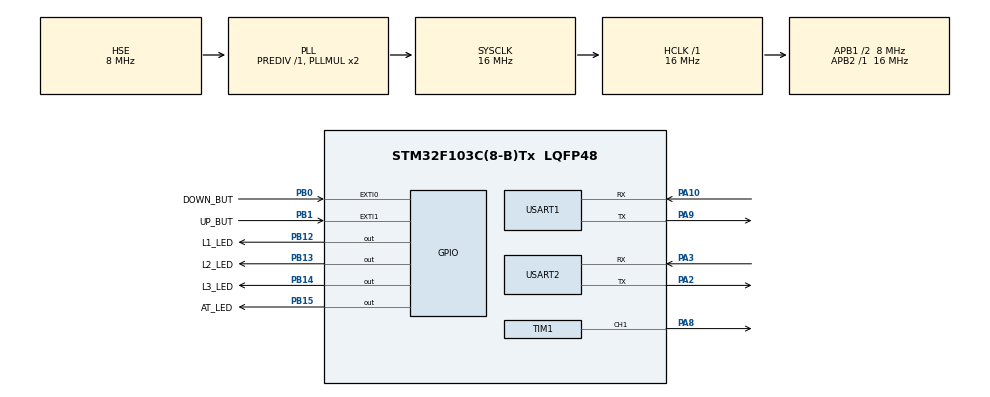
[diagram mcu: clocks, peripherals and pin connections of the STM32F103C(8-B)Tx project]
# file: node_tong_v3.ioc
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Mcu.Family=STM32F1
Mcu.Name=STM32F103C(8-B)Tx
Mcu.Package=LQFP48
NVIC.EXTI0_IRQn=true\:3\:0\:true\:false\:true\:true\:true\:true
NVIC.EXTI1_IRQn=true\:3\:0\:true\:false\:true\:true\:true\:true
NVIC.PriorityGroup=NVIC_PRIORITYGROUP_4
NVIC.TIM2_IRQn=true\:4\:0\:true\:false\:true\:true\:true\:true
NVIC.TIM3_IRQn=true\:5\:0\:true\:false\:true\:true\:true\:true
NVIC.USART1_IRQn=true\:0\:0\:false\:false\:true\:true\:true\:true
NVIC.USART2_IRQn=true\:1\:0\:true\:false\:true\:true\:true\:true
PA10.Mode=Asynchronous
PA10.Signal=USART1_RX
PA13.Mode=Serial_Wire
PA13.Signal=SYS_JTMS-SWDIO
PA14.Mode=Serial_Wire
PA14.Signal=SYS_JTCK-SWCLK
PA2.Mode=Asynchronous
PA2.Signal=USART2_TX
PA3.Mode=Asynchronous
PA3.Signal=USART2_RX
PA8.Signal=S_TIM1_CH1
PA9.Mode=Asynchronous
PA9.Signal=USART1_TX
PB0.GPIO_Label=DOWN_BUT
PB0.GPIO_ModeDefaultEXTI=GPIO_MODE_IT_FALLING
PB0.Signal=GPXTI0
PB1.GPIO_Label=UP_BUT
PB1.GPIO_ModeDefaultEXTI=GPIO_MODE_IT_FALLING
PB1.Signal=GPXTI1
PB12.GPIO_Label=L1_LED
PB12.GPIO_PuPd=GPIO_PULLUP
PB12.PinState=GPIO_PIN_SET
PB12.Signal=GPIO_Output
PB13.GPIO_Label=L2_LED
PB13.GPIO_PuPd=GPIO_PULLUP
PB13.PinState=GPIO_PIN_SET
PB13.Signal=GPIO_Output
PB14.GPIO_Label=L3_LED
PB14.GPIO_PuPd=GPIO_PULLUP
PB14.PinState=GPIO_PIN_SET
PB14.Signal=GPIO_Output
PB15.GPIO_Label=AT_LED
PB15.GPIO_PuPd=GPIO_PULLUP
PB15.GPIO_Speed=GPIO_SPEED_FREQ_LOW
PB15.PinState=GPIO_PIN_SET
PB15.Signal=GPIO_Output
PD0-OSC_IN.Mode=HSE-External-Oscillator
PD0-OSC_IN.Signal=RCC_OSC_IN
PD1-OSC_OUT.Mode=HSE-External-Oscillator
PD1-OSC_OUT.Signal=RCC_OSC_OUT
ProjectManager.HeapSize=0x200
ProjectManager.StackSize=0x400
ProjectManager.TargetToolchain=STM32CubeIDE
RCC.AHBFreq_Value=16000000
RCC.APB1CLKDivider=RCC_HCLK_DIV2
RCC.APB1Freq_Value=8000000
RCC.APB1TimFreq_Value=16000000
RCC.APB2Freq_Value=16000000
RCC.APB2TimFreq_Value=16000000
RCC.HCLKFreq_Value=16000000
RCC.PLLSourceVirtual=RCC_PLLSOURCE_HSE
RCC.SYSCLKFreq_VALUE=16000000
RCC.SYSCLKSource=RCC_SYSCLKSOURCE_PLLCLK
RCC.USBFreq_Value=16000000
SH.S_TIM1_CH1.0=TIM1_CH1,PWM Generation1 CH1
TIM1.Channel-PWM\ Generation1\ CH1=TIM_CHANNEL_1
TIM1.OCMode_PWM-PWM\ Generation1\ CH1=TIM_OCMODE_PWM1
TIM1.Period=100
TIM1.Prescaler=16000-1
TIM2.Period=3000
TIM2.Prescaler=16000-1
TIM3.Period=6000
TIM3.Prescaler=16000-1
USART1.VirtualMode=VM_ASYNC
USART2.VirtualMode=VM_ASYNC
VP_TIM2_VS_ClockSourceINT.Mode=Internal
VP_TIM3_VS_ClockSourceINT.Mode=Internal
board=custom

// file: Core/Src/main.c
/* USER CODE BEGIN Header */
/**
  ******************************************************************************
  * @file           : main.c
  * @brief          : Main program body
  ******************************************************************************
  * @attention
  *
  * Copyright (c) 2024 STMicroelectronics.
  * All rights reserved.
  *
  * This software is licensed under terms that can be found in the LICENSE file
  * in the root directory of this software component.
  * If no LICENSE file comes with this software, it is provided AS-IS.
  *
  ******************************************************************************
  */
/* USER CODE END Header */
#include "main.h"

/* USER CODE BEGIN Includes */
#include "stdio.h"
#include "string.h"
#include <stdlib.h>
#include <time_related_node_tong.h>
#include"led.h"
#include <rs_related_node_tong.h>
/* USER CODE END Includes */

TIM_HandleTypeDef htim1;
TIM_HandleTypeDef htim2;
TIM_HandleTypeDef htim3;

UART_HandleTypeDef huart1;
UART_HandleTypeDef huart2;

/* USER CODE BEGIN PV */
uint8_t at_state=1;
uint16_t duty = 50;
// dữ liệu với node đo
uint8_t RS1_txBuffer[20];
uint8_t RS1_rxBuffer[30];
// dữ liệu với gateway
uint8_t RS2_txBuffer[40];
uint8_t RS2_rxBuffer[20];
uint8_t RS2_rx[20];
uint8_t rs1_temp[2];
uint8_t rs1_inx=0;
uint8_t rs2_temp[2];
uint8_t rs2_inx=0;
uint8_t node_flag=1 ;
uint8_t myID = 0x11;  // �?ịa chỉ Slave (duy nhất)

PPM ppm_data_1;
PPM ppm_data_2;
uint8_t lrc;
uint8_t received_lrc;
uint8_t receive_node1_flag=1; // c�? nhận được dữ liệu từ node 1 không
uint8_t receive_node2_flag=1; // c�? nhận được dữ liệu từ node 2 không
uint8_t connect_gw_error_flag=0; // c�? lỗi kết nối với gw
uint8_t connect_gw_miss_flag=0;
uint8_t save_ok = 0;			// lưu dữ liệu vào vùng nhớ tran xong hay không
uint8_t miss_data_node1_to_nodet_inx=0; 		// biến đếm dữ liệu thiếu node 1 đến node tổng
uint8_t miss_data_node2_to_nodet_inx=0;	// biến đếm dữ liệu thiếu node 2 dến node tổng
uint8_t miss_data_nodet_to_gw_inx=0;      // biến đếm dữ liệu thiếu gw
uint8_t miss_data_node1_to_gw_inx=0;
uint8_t miss_data_node2_to_gw_inx=0;

uint8_t send_gw_inx=0;

uint8_t send_n1_inx=0;

uint8_t send_n2_inx=0;
char string_data_tran[100][40];
char string_data_rec1[100][20];
char string_data_rec2[100][20];
/* USER CODE END PV */

void SystemClock_Config(void);
static void MX_GPIO_Init(void);
static void MX_USART1_UART_Init(void);
static void MX_TIM2_Init(void);
static void MX_TIM1_Init(void);
static void MX_USART2_UART_Init(void);
static void MX_TIM3_Init(void);

/* USER CODE BEGIN 0 */

// gửi lệnh đ�?c v�? node đo theo th�?i gian
void HAL_TIM_PeriodElapsedCallback(TIM_HandleTypeDef *htim)
{
    if (htim->Instance == TIM2)  // Kiểm tra nếu ngắt từ Timer 2
    {
    	if(node_flag==1 && receive_node1_flag==1)
    	{
    	RS485_SendCommand(0x01, 0x02);  // Gửi lệnh "02" tới Slave 1 ( lệnh gửi 1 dữ liệu)
    	node_flag=2;
    	receive_node1_flag=0;
    	}
    	else if(node_flag==1 && receive_node1_flag==0)
    	{
    	RS485_SendCommand(0x01, 0x03);  // Gửi lệnh "03" tới Slave 1 ( lệnh gửi tất cả dữ liệu chưa gửi được)
    	node_flag=2;
    	receive_node1_flag=0;
    	}

    	else if(node_flag==2 && receive_node2_flag==1)
    	{
		RS485_SendCommand(0x02, 0x02);  // Gửi lệnh "02" tới Slave 2
		node_flag=1;
		receive_node2_flag=0;
    	}
    	else if(node_flag==2 && receive_node2_flag==0)
    	{
    		RS485_SendCommand(0x02, 0x03);  // Gửi lệnh "03" tới Slave 2
    		node_flag=1;
    		receive_node2_flag=0;
    	}
    }
    else if (htim->Instance == TIM3)  // Kiểm tra nếu ngắt từ Timer 3
    {
    	Change_Time_Save_Data();
    	connect_gw_error_flag++;
    	save_ok=0;
		 if(connect_gw_error_flag>=2 && save_ok==0)
		 {
			miss_data_nodet_to_gw_inx=connect_gw_error_flag-2;
			encode_ppm_data(ppm_data_1,(uint8_t*)string_data_tran[miss_data_nodet_to_gw_inx] , 5);
			encode_ppm_data(ppm_data_2,(uint8_t*)string_data_tran[miss_data_nodet_to_gw_inx] , 19);
			save_ok=1;
		 }
    }
}

void HAL_UART_RxCpltCallback(UART_HandleTypeDef *huart)
{
	// Nhận dữ liệu từ node đo
    if (huart->Instance == USART1)
    {
			// nhận chuỗi từ : đến \n
	if(rs1_temp[0] != '\n')
	{
		if(rs1_temp[0]==':')
		{
			RS1_rxBuffer[0]=rs1_temp[0];
			rs1_inx=1;
		}
		else
		{
			RS1_rxBuffer[rs1_inx++]=rs1_temp[0];
		}
	}
	else
	{
		RS1_rxBuffer[rs1_inx++]='\n';
    	if(check_lrc(&RS1_rxBuffer[1],18,(char*)&RS1_rxBuffer[19]) == 1)
    	{
			if (RS1_rxBuffer[1] == '0' && RS1_rxBuffer[2] == '1')
					{ // Kiểm tra địa chỉ
				if (RS1_rxBuffer[3] == '0' && RS1_rxBuffer[4] == '2')
				{
					HAL_TIM_Base_Start_IT(&htim2);
					decode_ppm_ver3((char*)RS1_rxBuffer,&ppm_data_1);
					receive_node1_flag=1; // c�? nhận được dữ liệu từ node1
					miss_data_node1_to_nodet_inx=0;
					Change_Time_Read_Data();
					RS485_SendCommand(0x01, 0xAA); //AA = OK
				}
				 else if(RS1_rxBuffer[3] == '0' && RS1_rxBuffer[4] == '3') // nhận được nhi�?u dữ liệu
				{
					HAL_TIM_Base_Stop_IT(&htim2);
					strcpy(&string_data_rec1[miss_data_node1_to_nodet_inx][5],(char*)&RS1_rxBuffer[5]);
					miss_data_node1_to_nodet_inx++;
					miss_data_node1_to_gw_inx = miss_data_node1_to_nodet_inx;
					RS485_SendCommand(0x01, 0xBB); // gui ve node do la da luu thanh cong
				}
			   }
			// node 2
			else if (RS1_rxBuffer[1] == '0' && RS1_rxBuffer[2] == '2')
					{ // Kiểm tra địa chỉ
				if (RS1_rxBuffer[3] == '0' && RS1_rxBuffer[4] == '2')
				{
					HAL_TIM_Base_Start_IT(&htim2);
					decode_ppm_ver3((char*)RS1_rxBuffer,&ppm_data_2);
					receive_node2_flag=1;
					miss_data_node2_to_nodet_inx=0;
					Change_Time_Read_Data();
					RS485_SendCommand(0x02, 0xAA);
				}
				else if(RS1_rxBuffer[3] == '0' && RS1_rxBuffer[4] == '3')
				{
					HAL_TIM_Base_Stop_IT(&htim2);
					strcpy(&string_data_rec2[miss_data_node2_to_nodet_inx][5],(char*)&RS1_rxBuffer[5]);
					miss_data_node2_to_nodet_inx++;
					miss_data_node2_to_gw_inx = miss_data_node2_to_nodet_inx;
					RS485_SendCommand(0x02, 0xBB);
				}
			   }
		 }
 		rs1_inx=0;
 		memset(RS1_rxBuffer,0,sizeof(RS1_rxBuffer));
    }
        HAL_UART_Receive_IT(&huart1, rs1_temp, 1);
    }

       //Nhận lệnh từ gateway
        if (huart->Instance == USART2)
        {
		// nhận bản tin từ từ : đến \n
		if(rs2_temp[0] != '\n') // nhận các kí tự đến \n
		{
			if(rs2_temp[0]==':') // kí tự bắt đầu phải là :
			{
				RS2_rxBuffer[0]=rs2_temp[0];
				rs2_inx=1;
			}
			else
			{
				RS2_rxBuffer[rs2_inx++]=rs2_temp[0];  // nhận các kí tự tiếp theo
			}
		}
		else // nhận xong 1 bản tin rồi xử lý dữ liệu
		{
			RS2_rxBuffer[rs2_inx++]='\n'; // chèn kí tự \n vào cuối bản tin
        	if(check_lrc(&RS2_rxBuffer[1],4,(char*)&RS2_rxBuffer[5]) == 1)
        	 {
				if (RS2_rxBuffer[1] == '1' && RS2_rxBuffer[2] == '1')
				{ // Kiểm tra địa chỉ
					connect_gw_error_flag=0;
					if (RS2_rxBuffer[3] == '0' && RS2_rxBuffer[4] == '2')
					{
						RS2_txBuffer[0]=':';
						// Gửi phản hồi
						hexdec_to_ascii(myID,(char*)&RS2_txBuffer[1]);
						RS2_txBuffer[3] = '0';
						RS2_txBuffer[4] = '2';

						// G�?i hàm để mã hóa dữ liệu ppm_data_1 vào RS2_txBuffer bắt đầu từ vị trí 5
						encode_ppm_data(ppm_data_1, RS2_txBuffer, 5);

						// G�?i hàm để mã hóa dữ liệu ppm_data_2 vào RS2_txBuffer bắt đầu từ vị trí 19
						encode_ppm_data(ppm_data_2, RS2_txBuffer, 19);

						lrc = calculate_lrc(&RS2_txBuffer[1],32);
						hexdec_to_ascii(lrc,(char*)&RS2_txBuffer[33]);
						RS2_txBuffer[35]=0x0D ;
						RS2_txBuffer[36]=0x0A ;
						HAL_UART_Transmit(&huart2, RS2_txBuffer, 40, HAL_MAX_DELAY);
					}
					else if(RS2_rxBuffer[3] == 'A' && RS2_rxBuffer[4] == 'A') // nhận lại oke
					{
						HAL_TIM_Base_Start_IT(&htim3);
						connect_gw_error_flag=0;
						miss_data_nodet_to_gw_inx=0;
						miss_data_node1_to_gw_inx=0;
						miss_data_node2_to_gw_inx=0;
						send_n1_inx=0;
						send_n2_inx=0;
						memset(string_data_rec1, 0, sizeof(string_data_rec1));
						memset(string_data_rec2, 0, sizeof(string_data_rec2));
						memset(string_data_tran, 0, sizeof(string_data_tran));
					}
					else if(RS2_rxBuffer[3] == '0' && RS2_rxBuffer[4] == '3') // th mat ket noi len gw
					{
						 if( miss_data_nodet_to_gw_inx!=0)
						 {
							 while(send_gw_inx<miss_data_nodet_to_gw_inx)
							 {
								RS2_txBuffer[0]=':';
								hexdec_to_ascii(myID,(char*)&RS2_txBuffer[1]);
								RS2_txBuffer[3] = '0';
								RS2_txBuffer[4] = '3';
								strcpy((char*)&RS2_txBuffer[5], &string_data_tran[send_gw_inx][5]);
								lrc = calculate_lrc(&RS2_txBuffer[1],32);
								hexdec_to_ascii(lrc,(char*)&RS2_txBuffer[33]);
								RS2_txBuffer[35]=0x0D ;
								RS2_txBuffer[36]=0x0A ;
								 HAL_UART_Transmit(&huart2, RS2_txBuffer, 40, HAL_MAX_DELAY);
								 HAL_UART_Receive(&huart2 ,RS2_rx, 10, HAL_MAX_DELAY);
								 if( RS2_rx[4] == 'B')
								 {
									 HAL_TIM_Base_Stop_IT(&htim3);
									 send_gw_inx++;
								 }
							 }
							 if(send_gw_inx==miss_data_nodet_to_gw_inx)
							 {
								RS2_txBuffer[0]=':';
								hexdec_to_ascii(myID,(char*)&RS2_txBuffer[1]);
								RS2_txBuffer[3] = '0';
								RS2_txBuffer[4] = '2';
								strcpy((char*)&RS2_txBuffer[5], &string_data_tran[send_gw_inx][5]);
								lrc = calculate_lrc(&RS2_txBuffer[1],32);
								hexdec_to_ascii(lrc,(char*)&RS2_txBuffer[33]);
								RS2_txBuffer[35]=0x0D ;
								RS2_txBuffer[36]=0x0A ;
								HAL_UART_Transmit(&huart2, RS2_txBuffer, 40, HAL_MAX_DELAY);
							 }
						 }
						 else // them vao neu k chay thi xoa
						 {
							RS2_txBuffer[0]=':';
							// Gửi phản hồi
							hexdec_to_ascii(myID,(char*)&RS2_txBuffer[1]);
							RS2_txBuffer[3] = '0';
							RS2_txBuffer[4] = '0';
							lrc = calculate_lrc(&RS2_txBuffer[1],32);
							hexdec_to_ascii(lrc,(char*)&RS2_txBuffer[33]);
							RS2_txBuffer[35]=0x0D ;
							RS2_txBuffer[36]=0x0A ;
							HAL_UART_Transmit(&huart2, RS2_txBuffer, 40, HAL_MAX_DELAY);
						 }
					}
				   else if(RS2_rxBuffer[3] == '2' && RS2_rxBuffer[4] == '1') // nhận lệnh gửi dữ liệu bị miss từ node1 lên node tổng
				   {
					   if(miss_data_node1_to_gw_inx==0) // chưa có dữ liệu từ node 1 lên node tổng
					   {
							RS2_txBuffer[0]=':';
							// Gửi phản hồi
							hexdec_to_ascii(myID,(char*)&RS2_txBuffer[1]);
							RS2_txBuffer[3] = '0';
							RS2_txBuffer[4] = '2';

							// G�?i hàm để mã hóa dữ liệu ppm_data_1 vào RS2_txBuffer bắt đầu từ vị trí 5
							encode_ppm_data(ppm_data_1, RS2_txBuffer, 5);

							// G�?i hàm để mã hóa dữ liệu ppm_data_2 vào RS2_txBuffer bắt đầu từ vị trí 19
							encode_ppm_data(ppm_data_2, RS2_txBuffer, 19);

							lrc = calculate_lrc(&RS2_txBuffer[1],32);
							hexdec_to_ascii(lrc,(char*)&RS2_txBuffer[33]);
							RS2_txBuffer[35]=0x0D ;
							RS2_txBuffer[36]=0x0A ;
							HAL_UART_Transmit(&huart2, RS2_txBuffer, 40, HAL_MAX_DELAY);
					   }
					   else // đã có dữ liệu từ node đo lên node tổng
					   {
							while(send_n1_inx<miss_data_node1_to_gw_inx -1)
							{
								RS2_txBuffer[0]=':';
								// Gửi phản hồi
								hexdec_to_ascii(myID,(char*)&RS2_txBuffer[1]);
								RS2_txBuffer[3] = '2';
								RS2_txBuffer[4] = '1';
								strncpy((char *)&RS2_txBuffer[5], &string_data_rec1[send_n1_inx][5], 14);
								memset(&RS2_txBuffer[19], 0, 14);
								lrc = calculate_lrc(&RS2_txBuffer[1],32);
								hexdec_to_ascii(lrc,(char*)&RS2_txBuffer[33]);
								RS2_txBuffer[35]=0x0D ;
								RS2_txBuffer[36]=0x0A ;
								 HAL_UART_Transmit(&huart2, RS2_txBuffer, 40, HAL_MAX_DELAY);
								 HAL_UART_Receive(&huart2 ,RS2_rx, 10, HAL_MAX_DELAY);
								 if(RS2_rx[4] == 'C')
								 {
									 send_n1_inx++;
								 }
							}
							 if(send_n1_inx == miss_data_node1_to_gw_inx -1) // gửi dữ liệu cuối cùng của vugnf nhớ (có lệnh 0x02) để gw quay v�? thực hiện tiếp như chưa có lỗi
							 {
								RS2_txBuffer[0]=':';
								// Gửi phản hồi
								hexdec_to_ascii(myID,(char*)&RS2_txBuffer[1]);
								RS2_txBuffer[3] = '0';
								RS2_txBuffer[4] = '2';
								strncpy((char *)&RS2_txBuffer[5], &string_data_rec1[send_n1_inx][5], 14);
								memset(&RS2_txBuffer[19], 0, 14);
								lrc = calculate_lrc(&RS2_txBuffer[1],32);
								hexdec_to_ascii(lrc,(char*)&RS2_txBuffer[33]);
								RS2_txBuffer[35]=0x0D ;
								RS2_txBuffer[36]=0x0A ;
								 HAL_UART_Transmit(&huart2, RS2_txBuffer, 40, HAL_MAX_DELAY);
								 send_n1_inx++;
							 }
						 }
				   }
				   else if(RS2_rxBuffer[3] == '2' && RS2_rxBuffer[4] == '2')
				   {
					   if(miss_data_node2_to_gw_inx==0) // chưa có dữ liệu từ node 2 lên node tổng
					   {
							RS2_txBuffer[0]=':';
							// Gửi phản hồi
							hexdec_to_ascii(myID,(char*)&RS2_txBuffer[1]);
							RS2_txBuffer[3] = '0';
							RS2_txBuffer[4] = '2';

							// G�?i hàm để mã hóa dữ liệu ppm_data_1 vào RS2_txBuffer bắt đầu từ vị trí 5
							encode_ppm_data(ppm_data_1, RS2_txBuffer, 5);

							// G�?i hàm để mã hóa dữ liệu ppm_data_2 vào RS2_txBuffer bắt đầu từ vị trí 19
							encode_ppm_data(ppm_data_2, RS2_txBuffer, 19);

							lrc = calculate_lrc(&RS2_txBuffer[1],32);
							hexdec_to_ascii(lrc,(char*)&RS2_txBuffer[33]);
							RS2_txBuffer[35]=0x0D ;
							RS2_txBuffer[36]=0x0A ;
							HAL_UART_Transmit(&huart2, RS2_txBuffer, 40, HAL_MAX_DELAY);
					   }
					   else // đã có dữ liệu từ node đo lên node tổng
					   {
							 while(send_n2_inx<miss_data_node2_to_gw_inx -1)
							{
								RS2_txBuffer[0]=':';
								// Gửi phản hồi
								hexdec_to_ascii(myID,(char*)&RS2_txBuffer[1]);
								RS2_txBuffer[3] = '2';
								RS2_txBuffer[4] = '2';
								memset(&RS2_txBuffer[5], 0, 14);
								strncpy((char *)&RS2_txBuffer[19], &string_data_rec2[send_n2_inx][5], 14);
								lrc = calculate_lrc(&RS2_txBuffer[1],32);
								hexdec_to_ascii(lrc,(char*)&RS2_txBuffer[33]);
								RS2_txBuffer[35]=0x0D ;
								RS2_txBuffer[36]=0x0A ;
								 HAL_UART_Transmit(&huart2, RS2_txBuffer, 40, HAL_MAX_DELAY);
								 HAL_UART_Receive(&huart2 ,RS2_rx, 10, HAL_MAX_DELAY);
								 if( RS2_rx[4] == 'D')
								 {
									 send_n2_inx++;
								 }
							}
							 if(send_n2_inx == miss_data_node2_to_gw_inx -1)// gửi dữ liệu cuối cùng của vugnf nhớ (có lệnh 0x02) để gw quay v�? thực hiện tiếp như chưa có lỗi
							 {
								RS2_txBuffer[0]=':';
								// Gửi phản hồi
								hexdec_to_ascii(myID,(char*)&RS2_txBuffer[1]);
								RS2_txBuffer[3] = '0';
								RS2_txBuffer[4] = '2';
								memset(&RS2_txBuffer[5], 0, 14);
								strncpy((char *)&RS2_txBuffer[19], &string_data_rec2[send_n2_inx][5], 14);
								lrc = calculate_lrc(&RS2_txBuffer[1],32);
								hexdec_to_ascii(lrc,(char*)&RS2_txBuffer[33]);
								RS2_txBuffer[35]=0x0D ;
								RS2_txBuffer[36]=0x0A ;
								 HAL_UART_Transmit(&huart2, RS2_txBuffer, 40, HAL_MAX_DELAY);
							 }
					   }
				   }
				   else if(RS2_rxBuffer[3] == '2' && RS2_rxBuffer[4] == '3')
				   {
					   if(miss_data_node2_to_gw_inx==0) // chưa có dữ liệu từ 2 node lên node tổng
					   {
							RS2_txBuffer[0]=':';
							// Gửi phản hồi
							hexdec_to_ascii(myID,(char*)&RS2_txBuffer[1]);
							RS2_txBuffer[3] = '0';
							RS2_txBuffer[4] = '0';
							lrc = calculate_lrc(&RS2_txBuffer[1],32);
							hexdec_to_ascii(lrc,(char*)&RS2_txBuffer[33]);
							RS2_txBuffer[35]=0x0D ;
							RS2_txBuffer[36]=0x0A ;
							 HAL_UART_Transmit(&huart2, RS2_txBuffer, 40, HAL_MAX_DELAY);
					   }
					   else // đã có dữ liệu từ node đo lên node tổng
					   {
							 while(send_n2_inx<miss_data_node2_to_gw_inx -1)
							{
								RS2_txBuffer[0]=':';
								// Gửi phản hồi
								hexdec_to_ascii(myID,(char*)&RS2_txBuffer[1]);
								RS2_txBuffer[3] = '2';
								RS2_txBuffer[4] = '3';
								strncpy((char *)&RS2_txBuffer[5], &string_data_rec1[send_n2_inx][5], 14);
								strncpy((char *)&RS2_txBuffer[19], &string_data_rec2[send_n2_inx][5], 14);
								lrc = calculate_lrc(&RS2_txBuffer[1],32);
								hexdec_to_ascii(lrc,(char*)&RS2_txBuffer[33]);
								RS2_txBuffer[35]=0x0D ;
								RS2_txBuffer[36]=0x0A ;
								 HAL_UART_Transmit(&huart2, RS2_txBuffer, 40, HAL_MAX_DELAY);
								 HAL_UART_Receive(&huart2 ,RS2_rx, 10, HAL_MAX_DELAY);
								 if( RS2_rx[4] == 'D')
								 {
									 send_n2_inx++;
								 }
							}
							 if(send_n2_inx == miss_data_node2_to_gw_inx -1)// gửi dữ liệu cuối cùng của vugnf nhớ (có lệnh 0x02) để gw quay v�? thực hiện tiếp như chưa có lỗi
							 {
								RS2_txBuffer[0]=':';
								// Gửi phản hồi
								hexdec_to_ascii(myID,(char*)&RS2_txBuffer[1]);
								RS2_txBuffer[3] = '0';
								RS2_txBuffer[4] = '2';
								strncpy((char *)&RS2_txBuffer[5], &string_data_rec1[send_n2_inx][5], 14);
								strncpy((char *)&RS2_txBuffer[19], &string_data_rec2[send_n2_inx][5], 14);
								lrc = calculate_lrc(&RS2_txBuffer[1],32);
								hexdec_to_ascii(lrc,(char*)&RS2_txBuffer[33]);
								RS2_txBuffer[35]=0x0D ;
								RS2_txBuffer[36]=0x0A ;
								 HAL_UART_Transmit(&huart2, RS2_txBuffer, 40, HAL_MAX_DELAY);
							 }
					   }
				   }
				}
        	 }
        	// nhận bản tin th�?i gian từ gw và gửi v�? các node đo
            if(RS2_rxBuffer[2] == 0x77)
			{
				 HAL_UART_Transmit(&huart1, RS2_rxBuffer, 11, HAL_MAX_DELAY); // truyen ve node do thoi gian
			}
            // reset rs2 và RS2_rxbuf để tiếp tục nhận bản tin khác
      		rs2_inx=0;
      		memset(RS2_rxBuffer,0,sizeof(RS2_rxBuffer));
       }
               HAL_UART_Receive_IT(&huart2, rs2_temp, 1);
               // nhận mỗi lần 1 kí tự
        }
}
// chương trình đk quạt = tay
void HAL_GPIO_EXTI_Callback(uint16_t GPIO_Pin)
{
  UNUSED(GPIO_Pin);
  if(GPIO_Pin == DOWN_BUT_Pin)
  {
	  at_state=0; // c�? trạng thái đi�?u khiển quạt tự động =0
	  AT_LED_On(); // bật đèn báo hiệu đk quạt = tay
	  if(duty<=50)
	  {
		duty = 0;
	  }
	  else
	  {
		duty = duty -25;
	  }
	  TIM1->CCR1 = duty;

  }
  if(GPIO_Pin == UP_BUT_Pin)
  {
	  at_state=0;
	  AT_LED_On();
	  if(duty==100)
	  {
		duty =100;
	  }
	  else
	  {
		  if(duty==0)
		  {
			  duty=50;
		  }
		  else
		  {
		    duty = duty +25;
		  }
	  }
	  TIM1->CCR1 = duty;
  }
  if(at_state==0)
  {
	  // hiển thị led
	  if(duty<50)
	  {
		  L1_3_LED_Off();
	  }
	  else if (duty==50)
	  {
		  L1_LED_On();
	  }
	  else if (duty==75)
	  {
		  L2_LED_On();
	  }
	  else if(duty==100)
	  {
		  L3_LED_On();
	  }
  }
}
/* USER CODE END 0 */

int main(void)
{

  /* MCU Configuration--------------------------------------------------------*/

  /* Reset of all peripherals, Initializes the Flash interface and the Systick. */
  HAL_Init();

  /* Configure the system clock */
  SystemClock_Config();

  /* Initialize all configured peripherals */
  MX_GPIO_Init();
  MX_USART1_UART_Init();
  MX_TIM2_Init();
  MX_TIM1_Init();
  MX_USART2_UART_Init();
  MX_TIM3_Init();
  /* USER CODE BEGIN 2 */
  TIM1->CCR1 = duty;
   HAL_TIM_PWM_Start(&htim1, TIM_CHANNEL_1);

  HAL_UART_Receive_IT(&huart1, rs1_temp, 1); // nhận dữ liệu từ node đo
  HAL_UART_Receive_IT(&huart2, rs2_temp, 1); // nhận dữ liệu từ gateway

  HAL_TIM_Base_Start_IT(&htim2);
  HAL_TIM_Base_Start_IT(&htim3);
  /* USER CODE END 2 */

  /* Infinite loop */
  /* USER CODE BEGIN WHILE */
  while (1)
  {
   if(at_state==1) //dk quạt tự động
   {
	   Control_Fan_Auto();
   }
    /* USER CODE END WHILE */

  }
}

void SystemClock_Config(void)
{
  RCC_OscInitTypeDef RCC_OscInitStruct = {0};
  RCC_ClkInitTypeDef RCC_ClkInitStruct = {0};

  /** Initializes the RCC Oscillators according to the specified parameters
  * in the RCC_OscInitTypeDef structure.
  */
  RCC_OscInitStruct.OscillatorType = RCC_OSCILLATORTYPE_HSE;
  RCC_OscInitStruct.HSEState = RCC_HSE_ON;
  RCC_OscInitStruct.HSEPredivValue = RCC_HSE_PREDIV_DIV1;
  RCC_OscInitStruct.HSIState = RCC_HSI_ON;
  RCC_OscInitStruct.PLL.PLLState = RCC_PLL_ON;
  RCC_OscInitStruct.PLL.PLLSource = RCC_PLLSOURCE_HSE;
  RCC_OscInitStruct.PLL.PLLMUL = RCC_PLL_MUL2;
  if (HAL_RCC_OscConfig(&RCC_OscInitStruct) != HAL_OK)
  {
    Error_Handler();
  }

  /** Initializes the CPU, AHB and APB buses clocks
  */
  RCC_ClkInitStruct.ClockType = RCC_CLOCKTYPE_HCLK|RCC_CLOCKTYPE_SYSCLK
                              |RCC_CLOCKTYPE_PCLK1|RCC_CLOCKTYPE_PCLK2;
  RCC_ClkInitStruct.SYSCLKSource = RCC_SYSCLKSOURCE_PLLCLK;
  RCC_ClkInitStruct.AHBCLKDivider = RCC_SYSCLK_DIV1;
  RCC_ClkInitStruct.APB1CLKDivider = RCC_HCLK_DIV2;
  RCC_ClkInitStruct.APB2CLKDivider = RCC_HCLK_DIV1;

  if (HAL_RCC_ClockConfig(&RCC_ClkInitStruct, FLASH_LATENCY_0) != HAL_OK)
  {
    Error_Handler();
  }
}

static void MX_TIM1_Init(void)
{

  TIM_MasterConfigTypeDef sMasterConfig = {0};
  TIM_OC_InitTypeDef sConfigOC = {0};
  TIM_BreakDeadTimeConfigTypeDef sBreakDeadTimeConfig = {0};

  htim1.Instance = TIM1;
  htim1.Init.Prescaler = 16000-1;
  htim1.Init.CounterMode = TIM_COUNTERMODE_UP;
  htim1.Init.Period = 100;
  htim1.Init.ClockDivision = TIM_CLOCKDIVISION_DIV1;
  htim1.Init.RepetitionCounter = 0;
  htim1.Init.AutoReloadPreload = TIM_AUTORELOAD_PRELOAD_DISABLE;
  if (HAL_TIM_PWM_Init(&htim1) != HAL_OK)
  {
    Error_Handler();
  }
  sMasterConfig.MasterOutputTrigger = TIM_TRGO_RESET;
  sMasterConfig.MasterSlaveMode = TIM_MASTERSLAVEMODE_DISABLE;
  if (HAL_TIMEx_MasterConfigSynchronization(&htim1, &sMasterConfig) != HAL_OK)
  {
    Error_Handler();
  }
  sConfigOC.OCMode = TIM_OCMODE_PWM1;
  sConfigOC.Pulse = 0;
  sConfigOC.OCPolarity = TIM_OCPOLARITY_HIGH;
  sConfigOC.OCNPolarity = TIM_OCNPOLARITY_HIGH;
  sConfigOC.OCFastMode = TIM_OCFAST_DISABLE;
  sConfigOC.OCIdleState = TIM_OCIDLESTATE_RESET;
  sConfigOC.OCNIdleState = TIM_OCNIDLESTATE_RESET;
  if (HAL_TIM_PWM_ConfigChannel(&htim1, &sConfigOC, TIM_CHANNEL_1) != HAL_OK)
  {
    Error_Handler();
  }
  sBreakDeadTimeConfig.OffStateRunMode = TIM_OSSR_DISABLE;
  sBreakDeadTimeConfig.OffStateIDLEMode = TIM_OSSI_DISABLE;
  sBreakDeadTimeConfig.LockLevel = TIM_LOCKLEVEL_OFF;
  sBreakDeadTimeConfig.DeadTime = 0;
  sBreakDeadTimeConfig.BreakState = TIM_BREAK_DISABLE;
  sBreakDeadTimeConfig.BreakPolarity = TIM_BREAKPOLARITY_HIGH;
  sBreakDeadTimeConfig.AutomaticOutput = TIM_AUTOMATICOUTPUT_DISABLE;
  if (HAL_TIMEx_ConfigBreakDeadTime(&htim1, &sBreakDeadTimeConfig) != HAL_OK)
  {
    Error_Handler();
  }
  HAL_TIM_MspPostInit(&htim1);

}

static void MX_TIM2_Init(void)
{

  TIM_ClockConfigTypeDef sClockSourceConfig = {0};
  TIM_MasterConfigTypeDef sMasterConfig = {0};

  htim2.Instance = TIM2;
  htim2.Init.Prescaler = 16000-1;
  htim2.Init.CounterMode = TIM_COUNTERMODE_UP;
  htim2.Init.Period = 3000;
  htim2.Init.ClockDivision = TIM_CLOCKDIVISION_DIV1;
  htim2.Init.AutoReloadPreload = TIM_AUTORELOAD_PRELOAD_DISABLE;
  if (HAL_TIM_Base_Init(&htim2) != HAL_OK)
  {
    Error_Handler();
  }
  sClockSourceConfig.ClockSource = TIM_CLOCKSOURCE_INTERNAL;
  if (HAL_TIM_ConfigClockSource(&htim2, &sClockSourceConfig) != HAL_OK)
  {
    Error_Handler();
  }
  sMasterConfig.MasterOutputTrigger = TIM_TRGO_RESET;
  sMasterConfig.MasterSlaveMode = TIM_MASTERSLAVEMODE_DISABLE;
  if (HAL_TIMEx_MasterConfigSynchronization(&htim2, &sMasterConfig) != HAL_OK)
  {
    Error_Handler();
  }

}

static void MX_TIM3_Init(void)
{

  TIM_ClockConfigTypeDef sClockSourceConfig = {0};
  TIM_MasterConfigTypeDef sMasterConfig = {0};

  htim3.Instance = TIM3;
  htim3.Init.Prescaler = 16000-1;
  htim3.Init.CounterMode = TIM_COUNTERMODE_UP;
  htim3.Init.Period = 6000;
  htim3.Init.ClockDivision = TIM_CLOCKDIVISION_DIV1;
  htim3.Init.AutoReloadPreload = TIM_AUTORELOAD_PRELOAD_DISABLE;
  if (HAL_TIM_Base_Init(&htim3) != HAL_OK)
  {
    Error_Handler();
  }
  sClockSourceConfig.ClockSource = TIM_CLOCKSOURCE_INTERNAL;
  if (HAL_TIM_ConfigClockSource(&htim3, &sClockSourceConfig) != HAL_OK)
  {
    Error_Handler();
  }
  sMasterConfig.MasterOutputTrigger = TIM_TRGO_RESET;
  sMasterConfig.MasterSlaveMode = TIM_MASTERSLAVEMODE_DISABLE;
  if (HAL_TIMEx_MasterConfigSynchronization(&htim3, &sMasterConfig) != HAL_OK)
  {
    Error_Handler();
  }

}

static void MX_USART1_UART_Init(void)
{

  huart1.Instance = USART1;
  huart1.Init.BaudRate = 115200;
  huart1.Init.WordLength = UART_WORDLENGTH_8B;
  huart1.Init.StopBits = UART_STOPBITS_1;
  huart1.Init.Parity = UART_PARITY_NONE;
  huart1.Init.Mode = UART_MODE_TX_RX;
  huart1.Init.HwFlowCtl = UART_HWCONTROL_NONE;
  huart1.Init.OverSampling = UART_OVERSAMPLING_16;
  if (HAL_UART_Init(&huart1) != HAL_OK)
  {
    Error_Handler();
  }

}

static void MX_USART2_UART_Init(void)
{

  huart2.Instance = USART2;
  huart2.Init.BaudRate = 115200;
  huart2.Init.WordLength = UART_WORDLENGTH_8B;
  huart2.Init.StopBits = UART_STOPBITS_1;
  huart2.Init.Parity = UART_PARITY_NONE;
  huart2.Init.Mode = UART_MODE_TX_RX;
  huart2.Init.HwFlowCtl = UART_HWCONTROL_NONE;
  huart2.Init.OverSampling = UART_OVERSAMPLING_16;
  if (HAL_UART_Init(&huart2) != HAL_OK)
  {
    Error_Handler();
  }

}

static void MX_GPIO_Init(void)
{
  GPIO_InitTypeDef GPIO_InitStruct = {0};

  /* GPIO Ports Clock Enable */
  __HAL_RCC_GPIOD_CLK_ENABLE();
  __HAL_RCC_GPIOA_CLK_ENABLE();
  __HAL_RCC_GPIOB_CLK_ENABLE();

  /*Configure GPIO pin Output Level */
  HAL_GPIO_WritePin(GPIOB, L1_LED_Pin|L2_LED_Pin|L3_LED_Pin|AT_LED_Pin, GPIO_PIN_SET);

  /*Configure GPIO pins : DOWN_BUT_Pin UP_BUT_Pin */
  GPIO_InitStruct.Pin = DOWN_BUT_Pin|UP_BUT_Pin;
  GPIO_InitStruct.Mode = GPIO_MODE_IT_FALLING;
  GPIO_InitStruct.Pull = GPIO_NOPULL;
  HAL_GPIO_Init(GPIOB, &GPIO_InitStruct);

  /*Configure GPIO pins : L1_LED_Pin L2_LED_Pin L3_LED_Pin AT_LED_Pin */
  GPIO_InitStruct.Pin = L1_LED_Pin|L2_LED_Pin|L3_LED_Pin|AT_LED_Pin;
  GPIO_InitStruct.Mode = GPIO_MODE_OUTPUT_PP;
  GPIO_InitStruct.Pull = GPIO_PULLUP;
  GPIO_InitStruct.Speed = GPIO_SPEED_FREQ_LOW;
  HAL_GPIO_Init(GPIOB, &GPIO_InitStruct);

  /* EXTI interrupt init*/
  HAL_NVIC_SetPriority(EXTI0_IRQn, 3, 0);
  HAL_NVIC_EnableIRQ(EXTI0_IRQn);

  HAL_NVIC_SetPriority(EXTI1_IRQn, 3, 0);
  HAL_NVIC_EnableIRQ(EXTI1_IRQn);

}

void Error_Handler(void)
{
  __disable_irq();
  while (1)
  {
  }
}
